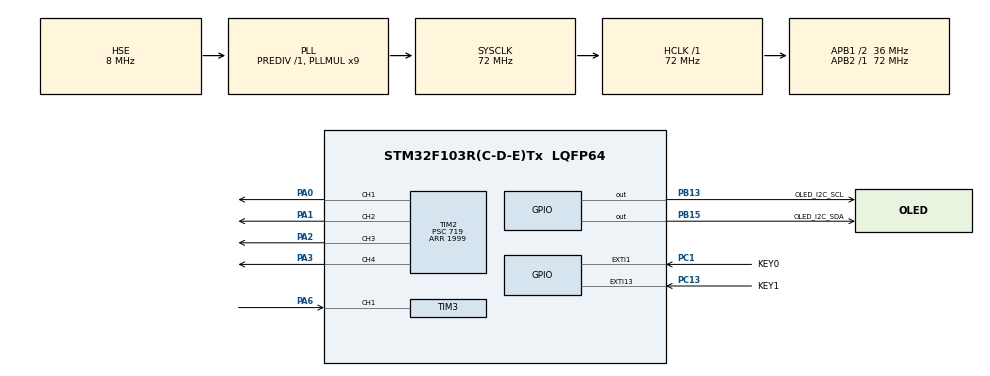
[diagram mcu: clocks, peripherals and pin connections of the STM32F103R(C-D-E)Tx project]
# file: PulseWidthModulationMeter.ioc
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Mcu.Family=STM32F1
Mcu.Name=STM32F103R(C-D-E)Tx
Mcu.Package=LQFP64
NVIC.EXTI15_10_IRQn=true\:6\:0\:true\:false\:true\:true\:true\:true
NVIC.EXTI1_IRQn=true\:6\:0\:true\:false\:true\:true\:true\:true
NVIC.PriorityGroup=NVIC_PRIORITYGROUP_4
NVIC.TIM3_IRQn=true\:0\:0\:false\:false\:true\:true\:true\:true
PA0-WKUP.Signal=S_TIM2_CH1_ETR
PA1.Signal=S_TIM2_CH2
PA13.Mode=Serial_Wire
PA13.Signal=SYS_JTMS-SWDIO
PA14.Mode=Serial_Wire
PA14.Signal=SYS_JTCK-SWCLK
PA2.Signal=S_TIM2_CH3
PA3.Signal=S_TIM2_CH4
PA6.Signal=S_TIM3_CH1
PB13.GPIO_Label=OLED_I2C_SCL
PB13.GPIO_ModeDefaultOutputPP=GPIO_MODE_OUTPUT_OD
PB13.GPIO_PuPd=GPIO_NOPULL
PB13.GPIO_Speed=GPIO_SPEED_FREQ_HIGH
PB13.Signal=GPIO_Output
PB15.GPIO_Label=OLED_I2C_SDA
PB15.GPIO_ModeDefaultOutputPP=GPIO_MODE_OUTPUT_OD
PB15.GPIO_PuPd=GPIO_NOPULL
PB15.GPIO_Speed=GPIO_SPEED_FREQ_HIGH
PB15.Signal=GPIO_Output
PC1.GPIO_Label=KEY0
PC1.GPIO_PuPd=GPIO_PULLUP
PC1.Signal=GPXTI1
PC13-TAMPER-RTC.GPIO_Label=KEY1
PC13-TAMPER-RTC.GPIO_PuPd=GPIO_PULLUP
PC13-TAMPER-RTC.Signal=GPXTI13
PD0-OSC_IN.Mode=HSE-External-Oscillator
PD0-OSC_IN.Signal=RCC_OSC_IN
PD1-OSC_OUT.Mode=HSE-External-Oscillator
PD1-OSC_OUT.Signal=RCC_OSC_OUT
ProjectManager.HeapSize=0x200
ProjectManager.StackSize=0x400
ProjectManager.TargetToolchain=STM32CubeIDE
RCC.AHBFreq_Value=72000000
RCC.APB1CLKDivider=RCC_HCLK_DIV2
RCC.APB1Freq_Value=36000000
RCC.APB1TimFreq_Value=72000000
RCC.APB2Freq_Value=72000000
RCC.APB2TimFreq_Value=72000000
RCC.HCLKFreq_Value=72000000
RCC.PLLMUL=RCC_PLL_MUL9
RCC.PLLSourceVirtual=RCC_PLLSOURCE_HSE
RCC.SYSCLKFreq_VALUE=72000000
RCC.SYSCLKSource=RCC_SYSCLKSOURCE_PLLCLK
RCC.USBFreq_Value=72000000
SH.S_TIM2_CH1_ETR.0=TIM2_CH1,PWM Generation1 CH1
SH.S_TIM2_CH2.0=TIM2_CH2,PWM Generation2 CH2
SH.S_TIM2_CH3.0=TIM2_CH3,PWM Generation3 CH3
SH.S_TIM2_CH4.0=TIM2_CH4,PWM Generation4 CH4
SH.S_TIM3_CH1.0=TIM3_CH1,PWM_Input_1
TIM2.AutoReloadPreload=TIM_AUTORELOAD_PRELOAD_ENABLE
TIM2.Channel-PWM\ Generation1\ CH1=TIM_CHANNEL_1
TIM2.Channel-PWM\ Generation2\ CH2=TIM_CHANNEL_2
TIM2.Channel-PWM\ Generation3\ CH3=TIM_CHANNEL_3
TIM2.Channel-PWM\ Generation4\ CH4=TIM_CHANNEL_4
TIM2.Period=1999
TIM2.Prescaler=719
TIM3.Prescaler=71
VP_TIM2_VS_ClockSourceINT.Mode=Internal
board=custom

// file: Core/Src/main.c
/* USER CODE BEGIN Header */
/**
  ******************************************************************************
  * @file           : main.c
  * @brief          : Main program body
  ******************************************************************************
  * @attention
  *
  * Copyright (c) 2025 STMicroelectronics.
  * All rights reserved.
  *
  * This software is licensed under terms that can be found in the LICENSE file
  * in the root directory of this software component.
  * If no LICENSE file comes with this software, it is provided AS-IS.
  *
  ******************************************************************************
  */
/* USER CODE END Header */
#include "main.h"
#include "tim.h"
#include "gpio.h"

/* USER CODE BEGIN Includes */

#include "oled.h"
#include "key.h"

/* USER CODE END Includes */

void SystemClock_Config(void);

int main(void)
{

  /* MCU Configuration--------------------------------------------------------*/

  /* Reset of all peripherals, Initializes the Flash interface and the Systick. */
  HAL_Init();

  /* Configure the system clock */
  SystemClock_Config();

  /* Initialize all configured peripherals */
  MX_GPIO_Init();
  MX_TIM2_Init();
  MX_TIM3_Init();
  /* USER CODE BEGIN 2 */

  // Initialize the OLED screen
  OLED_Init();

  // Start TIM2 PWM Output
  TIM2_PWM_Init();

  // Start TIM3 PWM Input to capture frequency and duty ratio
  HAL_TIM_IC_Start_IT(&htim3, TIM_CHANNEL_1);
  HAL_TIM_IC_Start_IT(&htim3, TIM_CHANNEL_2);

  /* USER CODE END 2 */

  /* Infinite loop */
  while (1)
  {

    /* USER CODE BEGIN 3 */

    // Display the frequency and duty ratio of output PWM signal
    OLED_ShowString(1, 1, "OF:");
    OLED_ShowNum(1, 4, frequency, 3);
    OLED_ShowString(1, 7, "Hz");
    OLED_ShowString(2, 1, "OD:");
    OLED_ShowNum(2, 4, duty_ratio, 3);
    OLED_ShowString(2, 7, "%");

    // Display the frequency and duty ratio of intput PWM signal
    OLED_ShowString(3, 1, "IF:");
    OLED_ShowNum(3, 4, input_frequency, 3);
    OLED_ShowString(3, 7, "Hz");
    OLED_ShowString(4, 1, "ID:");
    OLED_ShowNum(4, 4, input_duty_ratio, 3);
    OLED_ShowString(4, 7, "%");
  }
  /* USER CODE END 3 */
}

void SystemClock_Config(void)
{
  RCC_OscInitTypeDef RCC_OscInitStruct = {0};
  RCC_ClkInitTypeDef RCC_ClkInitStruct = {0};

  /** Initializes the RCC Oscillators according to the specified parameters
  * in the RCC_OscInitTypeDef structure.
  */
  RCC_OscInitStruct.OscillatorType = RCC_OSCILLATORTYPE_HSE;
  RCC_OscInitStruct.HSEState = RCC_HSE_ON;
  RCC_OscInitStruct.HSEPredivValue = RCC_HSE_PREDIV_DIV1;
  RCC_OscInitStruct.HSIState = RCC_HSI_ON;
  RCC_OscInitStruct.PLL.PLLState = RCC_PLL_ON;
  RCC_OscInitStruct.PLL.PLLSource = RCC_PLLSOURCE_HSE;
  RCC_OscInitStruct.PLL.PLLMUL = RCC_PLL_MUL9;
  if (HAL_RCC_OscConfig(&RCC_OscInitStruct) != HAL_OK)
  {
    Error_Handler();
  }

  /** Initializes the CPU, AHB and APB buses clocks
  */
  RCC_ClkInitStruct.ClockType = RCC_CLOCKTYPE_HCLK|RCC_CLOCKTYPE_SYSCLK
                              |RCC_CLOCKTYPE_PCLK1|RCC_CLOCKTYPE_PCLK2;
  RCC_ClkInitStruct.SYSCLKSource = RCC_SYSCLKSOURCE_PLLCLK;
  RCC_ClkInitStruct.AHBCLKDivider = RCC_SYSCLK_DIV1;
  RCC_ClkInitStruct.APB1CLKDivider = RCC_HCLK_DIV2;
  RCC_ClkInitStruct.APB2CLKDivider = RCC_HCLK_DIV1;

  if (HAL_RCC_ClockConfig(&RCC_ClkInitStruct, FLASH_LATENCY_2) != HAL_OK)
  {
    Error_Handler();
  }
}

void Error_Handler(void)
{
  __disable_irq();
  while (1)
  {
  }
}
